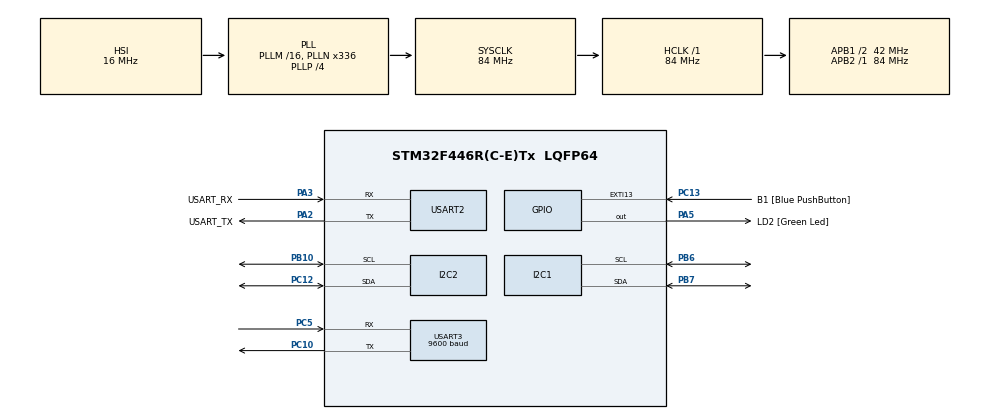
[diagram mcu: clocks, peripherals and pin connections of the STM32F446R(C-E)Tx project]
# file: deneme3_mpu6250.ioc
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I2C1.I2C_Mode=I2C_Standard
Mcu.Family=STM32F4
Mcu.Name=STM32F446R(C-E)Tx
Mcu.Package=LQFP64
NVIC.PriorityGroup=NVIC_PRIORITYGROUP_0
PA13.GPIO_Label=TMS
PA13.Mode=Serial_Wire
PA13.Signal=SYS_JTMS-SWDIO
PA14.GPIO_Label=TCK
PA14.Mode=Serial_Wire
PA14.Signal=SYS_JTCK-SWCLK
PA2.GPIO_Label=USART_TX
PA2.Mode=Asynchronous
PA2.Signal=USART2_TX
PA3.GPIO_Label=USART_RX
PA3.Mode=Asynchronous
PA3.Signal=USART2_RX
PA5.GPIO_Label=LD2 [Green Led]
PA5.Signal=GPIO_Output
PB10.Mode=I2C
PB10.Signal=I2C2_SCL
PB3.GPIO_Label=SWO
PB3.Signal=SYS_JTDO-SWO
PB6.Mode=I2C
PB6.Signal=I2C1_SCL
PB7.Mode=I2C
PB7.Signal=I2C1_SDA
PC10.Mode=Asynchronous
PC10.Signal=USART3_TX
PC12.Mode=I2C
PC12.Signal=I2C2_SDA
PC13.GPIO_Label=B1 [Blue PushButton]
PC13.GPIO_ModeDefaultEXTI=GPIO_MODE_IT_FALLING
PC13.Signal=GPXTI13
PC14-OSC32_IN.Mode=LSE-External-Oscillator
PC14-OSC32_IN.Signal=RCC_OSC32_IN
PC15-OSC32_OUT.Mode=LSE-External-Oscillator
PC15-OSC32_OUT.Signal=RCC_OSC32_OUT
PC5.Mode=Asynchronous
PC5.Signal=USART3_RX
PH0-OSC_IN.Mode=HSE-External-Oscillator
PH0-OSC_IN.Signal=RCC_OSC_IN
PH1-OSC_OUT.Mode=HSE-External-Oscillator
PH1-OSC_OUT.Signal=RCC_OSC_OUT
ProjectManager.HeapSize=0x200
ProjectManager.StackSize=0x400
ProjectManager.TargetToolchain=STM32CubeIDE
RCC.48MHZClocksFreq_Value=84000000
RCC.AHBFreq_Value=84000000
RCC.APB1CLKDivider=RCC_HCLK_DIV2
RCC.APB1Freq_Value=42000000
RCC.APB1TimFreq_Value=84000000
RCC.APB2Freq_Value=84000000
RCC.APB2TimFreq_Value=84000000
RCC.CortexFreq_Value=84000000
RCC.FLatency-AdvancedSettings=FLASH_LATENCY_2
RCC.HCLKFreq_Value=84000000
RCC.HSE_VALUE=8000000
RCC.HSI_VALUE=16000000
RCC.PLLN=336
RCC.PLLP=RCC_PLLP_DIV4
RCC.SYSCLKFreq_VALUE=84000000
RCC.SYSCLKSource=RCC_SYSCLKSOURCE_PLLCLK
RCC.USBFreq_Value=168000000
RCC.VCOOutputFreq_Value=336000000
USART2.VirtualMode=VM_ASYNC
USART3.BaudRate=9600
USART3.VirtualMode=VM_ASYNC
board=NUCLEO-F446RE

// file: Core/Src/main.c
/* USER CODE BEGIN Header */
/**
 ******************************************************************************
 * @file           : main.c
 * @brief          : Main program body
 ******************************************************************************
 * @attention
 *
 * Copyright (c) 2023 STMicroelectronics.
 * All rights reserved.
 *
 * This software is licensed under terms that can be found in the LICENSE file
 * in the root directory of this software component.
 * If no LICENSE file comes with this software, it is provided AS-IS.
 *
 ******************************************************************************
 */
/* USER CODE END Header */
#include "main.h"

/* USER CODE BEGIN Includes */
#include "BME280_STM32.h"
#include <math.h>
#include "MPU9250.h"
#include "data_packaging.h"
#include <stdio.h>
#include <stdlib.h>
#include"string.h"
/* USER CODE END Includes */

/* USER CODE BEGIN PD */
unsigned char adres0 = 0x00;
unsigned char adres = 0x48;
unsigned char kanal = 0xe;

/* USER CODE END PD */

I2C_HandleTypeDef hi2c1;
I2C_HandleTypeDef hi2c2;

UART_HandleTypeDef huart2;
UART_HandleTypeDef huart3;

void SystemClock_Config(void);
static void MX_GPIO_Init(void);
static void MX_USART2_UART_Init(void);
static void MX_I2C1_Init(void);
static void MX_I2C2_Init(void);
static void MX_USART3_UART_Init(void);

/* USER CODE BEGIN 0 */
float Temperature, Pressure, Humidity, Altitude;
ScaledData_Def AccelScaled, GyroScaled;
Packaged_Def Packaged_Data;

uint8_t sayac = 0;
//char giden_data[255] ;
uint8_t gelendata = 0;
uint8_t mal = 65;
//------------------------------------GEREKSİZ GELDİ---------------------------//
/*typedef struct{
 uint16_t x[sizeof(AccelScaled.x)];
 uint16_t y[sizeof(AccelScaled.y)];
 uint16_t z[sizeof(AccelScaled.z)];
 uint16_t a[sizeof(GyroScaled.x)];
 uint16_t b[sizeof(GyroScaled.y)];
 uint16_t c[sizeof(GyroScaled.z)];
 }char_t; */
//------------------------------------------------------------------------------//
/* USER CODE END 0 */

int main(void) {
	/* USER CODE BEGIN 1 */

	MPU_ConfigTypeDef myMPUConfig;

	HAL_Init();

	SystemClock_Config();

	MX_GPIO_Init();
	MX_I2C1_Init();
	MX_USART2_UART_Init();

	MPU9250_Init(&hi2c1);

	/* USER CODE END 1 */

	/* MCU Configuration--------------------------------------------------------*/

	/* Reset of all peripherals, Initializes the Flash interface and the Systick. */
	HAL_Init();

	/* USER CODE BEGIN Init */
	myMPUConfig.Accel_Full_Scale = AFS_SEL_4g;
	myMPUConfig.ClockSource = Internal_8MHz;
	myMPUConfig.CONFIG_DLPF = DLPF_260A_256G_Hz;
	myMPUConfig.Gyro_Full_Scale = FS_SEL_500;
	myMPUConfig.Sleep_Mode_Bit = 0; //zero is for ON mode and 1 is for sleep mode // We can set it alternatively 1 if issuing wake up interrupts

	MPU9250_Init(&hi2c1);

	/* USER CODE END Init */

	/* Configure the system clock */
	SystemClock_Config();

	/* Initialize all configured peripherals */
	MX_GPIO_Init();
	MX_USART2_UART_Init();
	MX_I2C1_Init();
	MX_I2C2_Init();
	MX_USART3_UART_Init();
	/* USER CODE BEGIN 2 */
	BME280_Config(OSRS_2, OSRS_16, OSRS_1, MODE_NORMAL, T_SB_0p5, IIR_16);
	MPU9250_Config(&myMPUConfig);
	/* USER CODE END 2 */

	/* Infinite loop */
	while (1) {

		/* USER CODE BEGIN 3 */
		BME280_Measure();
		MPU9250_Get_Accel_Scale(&AccelScaled);
		MPU9250_Get_Gyro_Scale(&GyroScaled);
		Get_Packaged_Data(&Packaged_Data);
		HAL_Delay(100);

		//sayac = sayac + 1;
		//if (sayac == 10) {
		//	sayac = 0;
		//}
		//sprintf(giden_data,"A %f \r\n B %f \r\n C %f \r\n D %f \r\n E %f \r\n ",Temperature, Pressure, Humidity, Altitude, Temperature);
		//	printf("Data : %d[x]" ,Packaged_Data);
		HAL_UART_Transmit(&huart3, (uint8_t*) &adres0, sizeof(adres0), 10);
		HAL_UART_Transmit(&huart3, (uint8_t*) &adres, sizeof(adres), 10);
		HAL_UART_Transmit(&huart3, (uint8_t*) &kanal, sizeof(kanal), 10);
		//HAL_UART_Transmit(&huart3, (uint8_t*) &mal, sizeof(mal), 10);

		HAL_UART_Transmit(&huart2,&Packaged_Data, sizeof(Packaged_Data),HAL_MAX_DELAY);
		//HAL_UART_Receive(&huart2, &gelendata, 8,100);
		HAL_Delay(1000);

	}
	/* USER CODE END 3 */
}

void SystemClock_Config(void) {
	RCC_OscInitTypeDef RCC_OscInitStruct = { 0 };
	RCC_ClkInitTypeDef RCC_ClkInitStruct = { 0 };

	/** Configure the main internal regulator output voltage
	 */
	__HAL_RCC_PWR_CLK_ENABLE();
	__HAL_PWR_VOLTAGESCALING_CONFIG(PWR_REGULATOR_VOLTAGE_SCALE3);

	/** Initializes the RCC Oscillators according to the specified parameters
	 * in the RCC_OscInitTypeDef structure.
	 */
	RCC_OscInitStruct.OscillatorType = RCC_OSCILLATORTYPE_HSI;
	RCC_OscInitStruct.HSIState = RCC_HSI_ON;
	RCC_OscInitStruct.HSICalibrationValue = RCC_HSICALIBRATION_DEFAULT;
	RCC_OscInitStruct.PLL.PLLState = RCC_PLL_ON;
	RCC_OscInitStruct.PLL.PLLSource = RCC_PLLSOURCE_HSI;
	RCC_OscInitStruct.PLL.PLLM = 16;
	RCC_OscInitStruct.PLL.PLLN = 336;
	RCC_OscInitStruct.PLL.PLLP = RCC_PLLP_DIV4;
	RCC_OscInitStruct.PLL.PLLQ = 2;
	RCC_OscInitStruct.PLL.PLLR = 2;
	if (HAL_RCC_OscConfig(&RCC_OscInitStruct) != HAL_OK) {
		Error_Handler();
	}

	/** Initializes the CPU, AHB and APB buses clocks
	 */
	RCC_ClkInitStruct.ClockType = RCC_CLOCKTYPE_HCLK | RCC_CLOCKTYPE_SYSCLK
			| RCC_CLOCKTYPE_PCLK1 | RCC_CLOCKTYPE_PCLK2;
	RCC_ClkInitStruct.SYSCLKSource = RCC_SYSCLKSOURCE_PLLCLK;
	RCC_ClkInitStruct.AHBCLKDivider = RCC_SYSCLK_DIV1;
	RCC_ClkInitStruct.APB1CLKDivider = RCC_HCLK_DIV2;
	RCC_ClkInitStruct.APB2CLKDivider = RCC_HCLK_DIV1;

	if (HAL_RCC_ClockConfig(&RCC_ClkInitStruct, FLASH_LATENCY_2) != HAL_OK) {
		Error_Handler();
	}
}

static void MX_I2C1_Init(void) {

	hi2c1.Instance = I2C1;
	hi2c1.Init.ClockSpeed = 100000;
	hi2c1.Init.DutyCycle = I2C_DUTYCYCLE_2;
	hi2c1.Init.OwnAddress1 = 0;
	hi2c1.Init.AddressingMode = I2C_ADDRESSINGMODE_7BIT;
	hi2c1.Init.DualAddressMode = I2C_DUALADDRESS_DISABLE;
	hi2c1.Init.OwnAddress2 = 0;
	hi2c1.Init.GeneralCallMode = I2C_GENERALCALL_DISABLE;
	hi2c1.Init.NoStretchMode = I2C_NOSTRETCH_DISABLE;
	if (HAL_I2C_Init(&hi2c1) != HAL_OK) {
		Error_Handler();
	}

}

static void MX_I2C2_Init(void) {

	hi2c2.Instance = I2C2;
	hi2c2.Init.ClockSpeed = 100000;
	hi2c2.Init.DutyCycle = I2C_DUTYCYCLE_2;
	hi2c2.Init.OwnAddress1 = 0;
	hi2c2.Init.AddressingMode = I2C_ADDRESSINGMODE_7BIT;
	hi2c2.Init.DualAddressMode = I2C_DUALADDRESS_DISABLE;
	hi2c2.Init.OwnAddress2 = 0;
	hi2c2.Init.GeneralCallMode = I2C_GENERALCALL_DISABLE;
	hi2c2.Init.NoStretchMode = I2C_NOSTRETCH_DISABLE;
	if (HAL_I2C_Init(&hi2c2) != HAL_OK) {
		Error_Handler();
	}

}

static void MX_USART2_UART_Init(void) {

	huart2.Instance = USART2;
	huart2.Init.BaudRate = 115200;
	huart2.Init.WordLength = UART_WORDLENGTH_8B;
	huart2.Init.StopBits = UART_STOPBITS_1;
	huart2.Init.Parity = UART_PARITY_NONE;
	huart2.Init.Mode = UART_MODE_TX_RX;
	huart2.Init.HwFlowCtl = UART_HWCONTROL_NONE;
	huart2.Init.OverSampling = UART_OVERSAMPLING_16;
	if (HAL_UART_Init(&huart2) != HAL_OK) {
		Error_Handler();
	}

}

static void MX_USART3_UART_Init(void) {

	huart3.Instance = USART3;
	huart3.Init.BaudRate = 9600;
	huart3.Init.WordLength = UART_WORDLENGTH_8B;
	huart3.Init.StopBits = UART_STOPBITS_1;
	huart3.Init.Parity = UART_PARITY_NONE;
	huart3.Init.Mode = UART_MODE_TX_RX;
	huart3.Init.HwFlowCtl = UART_HWCONTROL_NONE;
	huart3.Init.OverSampling = UART_OVERSAMPLING_16;
	if (HAL_UART_Init(&huart3) != HAL_OK) {
		Error_Handler();
	}

}

static void MX_GPIO_Init(void) {
	GPIO_InitTypeDef GPIO_InitStruct = { 0 };

	/* GPIO Ports Clock Enable */
	__HAL_RCC_GPIOC_CLK_ENABLE();
	__HAL_RCC_GPIOH_CLK_ENABLE();
	__HAL_RCC_GPIOA_CLK_ENABLE();
	__HAL_RCC_GPIOB_CLK_ENABLE();

	/*Configure GPIO pin Output Level */
	HAL_GPIO_WritePin(LD2_GPIO_Port, LD2_Pin, GPIO_PIN_RESET);

	/*Configure GPIO pin : B1_Pin */
	GPIO_InitStruct.Pin = B1_Pin;
	GPIO_InitStruct.Mode = GPIO_MODE_IT_FALLING;
	GPIO_InitStruct.Pull = GPIO_NOPULL;
	HAL_GPIO_Init(B1_GPIO_Port, &GPIO_InitStruct);

	/*Configure GPIO pin : LD2_Pin */
	GPIO_InitStruct.Pin = LD2_Pin;
	GPIO_InitStruct.Mode = GPIO_MODE_OUTPUT_PP;
	GPIO_InitStruct.Pull = GPIO_NOPULL;
	GPIO_InitStruct.Speed = GPIO_SPEED_FREQ_LOW;
	HAL_GPIO_Init(LD2_GPIO_Port, &GPIO_InitStruct);

}

void Error_Handler(void) {
	__disable_irq();
	while (1) {
	}
}
